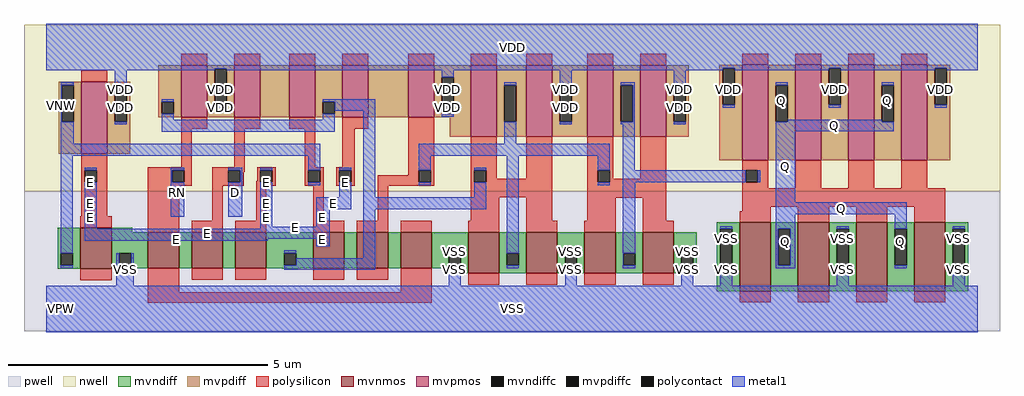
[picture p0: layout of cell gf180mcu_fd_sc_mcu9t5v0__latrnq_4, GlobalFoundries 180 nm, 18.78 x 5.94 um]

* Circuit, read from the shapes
.subckt gf180mcu_fd_sc_mcu9t5v0__latrnq_4 D E RN Q VDD VNW VPW VSS
XM1 VSS E n1 VPW nfet_06v0 w=0.79u l=0.6u
XM2 n2 RN VSS VPW nfet_06v0 w=0.7u l=0.6u
XM3 n3 D n2 VPW nfet_06v0 w=0.7u l=0.6u
XM4 n4 E n3 VPW nfet_06v0 w=0.7u l=0.6u
XM5 n5 n1 n4 VPW nfet_06v0 w=0.7u l=0.6u
XM6 n6 n7 n5 VPW nfet_06v0 w=0.7u l=0.6u
XM7 VSS RN n6 VPW nfet_06v0 w=0.7u l=0.6u
XM8 n7 n4 VSS VPW nfet_06v0 w=0.79u l=0.6u m=2
XM9 n8 n7 VSS VPW nfet_06v0 w=0.79u l=0.6u m=2
XM10 Q n8 VSS VPW nfet_06v0 w=1.32u l=0.6u m=4
XM11 VDD E n1 VNW pfet_06v0 w=1.38u l=0.5u
XM12 VDD RN n4 VNW pfet_06v0 w=1u l=0.5u
XM13 n9 D VDD VNW pfet_06v0 w=1u l=0.5u
XM14 n4 n1 n9 VNW pfet_06v0 w=1u l=0.5u
XM15 n10 E n4 VNW pfet_06v0 w=1u l=0.5u
XM16 VDD n7 n10 VNW pfet_06v0 w=1u l=0.5u
XM17 n7 n4 VDD VNW pfet_06v0 w=1.38u l=0.5u m=2
XM18 n8 n7 VDD VNW pfet_06v0 w=1.38u l=0.5u m=2
XM19 Q n8 VDD VNW pfet_06v0 w=1.83u l=0.5u m=4
.ends

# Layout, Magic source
magic
tech gf180mcuD
magscale 1 10
<< nwell >>
rect -86 453 3670 1094
<< pwell >>
rect -86 -86 3670 453
<< mvnmos >>
rect 131 155 251 313
rect 391 156 511 296
rect 559 156 679 296
rect 727 156 847 296
rect 1027 156 1147 296
rect 1195 156 1315 296
rect 1363 156 1483 296
rect 1623 138 1743 296
rect 1847 138 1967 296
rect 2071 138 2191 296
rect 2295 138 2415 296
rect 2668 69 2788 333
rect 2892 69 3012 333
rect 3116 69 3236 333
rect 3340 69 3460 333
<< mvpmos >>
rect 135 598 235 874
rect 519 738 619 938
rect 723 738 823 938
rect 935 738 1035 938
rect 1139 738 1239 938
rect 1393 738 1493 938
rect 1633 662 1733 938
rect 1847 662 1947 938
rect 2081 662 2181 938
rect 2285 662 2385 938
rect 2678 573 2778 939
rect 2882 573 2982 939
rect 3086 573 3186 939
rect 3290 573 3390 939
<< mvndiff >>
rect 43 214 131 313
rect 43 168 56 214
rect 102 168 131 214
rect 43 155 131 168
rect 251 296 331 313
rect 2580 308 2668 333
rect 251 214 391 296
rect 251 168 280 214
rect 326 168 391 214
rect 251 156 391 168
rect 511 156 559 296
rect 679 156 727 296
rect 847 214 1027 296
rect 847 168 916 214
rect 962 168 1027 214
rect 847 156 1027 168
rect 1147 156 1195 296
rect 1315 156 1363 296
rect 1483 214 1623 296
rect 1483 168 1548 214
rect 1594 168 1623 214
rect 1483 156 1623 168
rect 251 155 331 156
rect 907 155 967 156
rect 1543 138 1623 156
rect 1743 214 1847 296
rect 1743 168 1772 214
rect 1818 168 1847 214
rect 1743 138 1847 168
rect 1967 214 2071 296
rect 1967 168 1996 214
rect 2042 168 2071 214
rect 1967 138 2071 168
rect 2191 214 2295 296
rect 2191 168 2220 214
rect 2266 168 2295 214
rect 2191 138 2295 168
rect 2415 214 2503 296
rect 2415 168 2444 214
rect 2490 168 2503 214
rect 2415 138 2503 168
rect 2580 168 2593 308
rect 2639 168 2668 308
rect 2580 69 2668 168
rect 2788 308 2892 333
rect 2788 168 2817 308
rect 2863 168 2892 308
rect 2788 69 2892 168
rect 3012 308 3116 333
rect 3012 168 3041 308
rect 3087 168 3116 308
rect 3012 69 3116 168
rect 3236 308 3340 333
rect 3236 168 3265 308
rect 3311 168 3340 308
rect 3236 69 3340 168
rect 3460 308 3548 333
rect 3460 168 3489 308
rect 3535 168 3548 308
rect 3460 69 3548 168
<< mvpdiff >>
rect 47 861 135 874
rect 47 721 60 861
rect 106 721 135 861
rect 47 598 135 721
rect 235 861 323 874
rect 235 721 264 861
rect 310 721 323 861
rect 431 797 519 938
rect 431 751 444 797
rect 490 751 519 797
rect 431 738 519 751
rect 619 925 723 938
rect 619 785 648 925
rect 694 785 723 925
rect 619 738 723 785
rect 823 738 935 938
rect 1035 797 1139 938
rect 1035 751 1064 797
rect 1110 751 1139 797
rect 1035 738 1139 751
rect 1239 738 1393 938
rect 1493 891 1633 938
rect 1493 751 1522 891
rect 1568 751 1633 891
rect 1493 738 1633 751
rect 235 598 323 721
rect 1553 662 1633 738
rect 1733 861 1847 938
rect 1733 721 1762 861
rect 1808 721 1847 861
rect 1733 662 1847 721
rect 1947 861 2081 938
rect 1947 721 1976 861
rect 2022 721 2081 861
rect 1947 662 2081 721
rect 2181 861 2285 938
rect 2181 721 2210 861
rect 2256 721 2285 861
rect 2181 662 2285 721
rect 2385 861 2473 938
rect 2385 721 2414 861
rect 2460 721 2473 861
rect 2385 662 2473 721
rect 2590 926 2678 939
rect 2590 786 2603 926
rect 2649 786 2678 926
rect 2590 573 2678 786
rect 2778 861 2882 939
rect 2778 721 2807 861
rect 2853 721 2882 861
rect 2778 573 2882 721
rect 2982 926 3086 939
rect 2982 786 3011 926
rect 3057 786 3086 926
rect 2982 573 3086 786
rect 3186 861 3290 939
rect 3186 721 3215 861
rect 3261 721 3290 861
rect 3186 573 3290 721
rect 3390 926 3478 939
rect 3390 786 3419 926
rect 3465 786 3478 926
rect 3390 573 3478 786
<< mvndiffc >>
rect 56 168 102 214
rect 280 168 326 214
rect 916 168 962 214
rect 1548 168 1594 214
rect 1772 168 1818 214
rect 1996 168 2042 214
rect 2220 168 2266 214
rect 2444 168 2490 214
rect 2593 168 2639 308
rect 2817 168 2863 308
rect 3041 168 3087 308
rect 3265 168 3311 308
rect 3489 168 3535 308
<< mvpdiffc >>
rect 60 721 106 861
rect 264 721 310 861
rect 444 751 490 797
rect 648 785 694 925
rect 1064 751 1110 797
rect 1522 751 1568 891
rect 1762 721 1808 861
rect 1976 721 2022 861
rect 2210 721 2256 861
rect 2414 721 2460 861
rect 2603 786 2649 926
rect 2807 721 2853 861
rect 3011 786 3057 926
rect 3215 721 3261 861
rect 3419 786 3465 926
<< polysilicon >>
rect 519 938 619 982
rect 723 938 823 982
rect 935 938 1035 982
rect 1139 938 1239 982
rect 1393 938 1493 982
rect 1633 938 1733 982
rect 1847 938 1947 982
rect 2081 938 2181 982
rect 2285 938 2385 982
rect 2678 939 2778 983
rect 2882 939 2982 983
rect 3086 939 3186 983
rect 3290 939 3390 983
rect 135 874 235 918
rect 519 694 619 738
rect 723 694 823 738
rect 935 694 1035 738
rect 135 533 235 598
rect 519 546 559 694
rect 723 546 763 694
rect 995 546 1035 694
rect 1139 694 1239 738
rect 1139 546 1187 694
rect 135 487 148 533
rect 194 487 235 533
rect 135 357 235 487
rect 391 533 559 546
rect 391 487 484 533
rect 530 487 559 533
rect 391 474 559 487
rect 639 533 763 546
rect 639 487 700 533
rect 746 528 763 533
rect 811 533 883 546
rect 746 487 759 528
rect 811 492 824 533
rect 639 474 759 487
rect 807 487 824 492
rect 870 487 883 533
rect 807 474 883 487
rect 995 533 1067 546
rect 995 487 1008 533
rect 1054 487 1067 533
rect 995 474 1067 487
rect 1115 533 1187 546
rect 1115 487 1128 533
rect 1174 487 1187 533
rect 1393 533 1493 738
rect 1393 514 1434 533
rect 1115 474 1187 487
rect 1275 487 1434 514
rect 1480 487 1493 533
rect 1275 474 1493 487
rect 1633 533 1733 662
rect 1633 487 1646 533
rect 1692 501 1733 533
rect 1847 501 1947 662
rect 1692 487 1947 501
rect 131 313 251 357
rect 391 296 511 474
rect 639 340 679 474
rect 807 340 847 474
rect 559 296 679 340
rect 727 296 847 340
rect 1027 340 1067 474
rect 1275 340 1315 474
rect 1633 429 1947 487
rect 1633 340 1743 429
rect 1027 296 1147 340
rect 1195 296 1315 340
rect 1363 296 1483 340
rect 1623 296 1743 340
rect 1847 340 1947 429
rect 2081 533 2181 662
rect 2081 487 2122 533
rect 2168 501 2181 533
rect 2285 501 2385 662
rect 2168 487 2385 501
rect 2081 428 2385 487
rect 2081 340 2191 428
rect 1847 296 1967 340
rect 2071 296 2191 340
rect 2295 340 2385 428
rect 2678 533 2778 573
rect 2678 487 2691 533
rect 2737 487 2778 533
rect 2678 465 2778 487
rect 2882 465 2982 573
rect 3086 465 3186 573
rect 3290 465 3390 573
rect 2678 393 3460 465
rect 2678 377 2788 393
rect 2295 296 2415 340
rect 2668 333 2788 377
rect 2892 333 3012 393
rect 3116 333 3236 393
rect 3340 333 3460 393
rect 131 111 251 155
rect 391 64 511 156
rect 559 112 679 156
rect 727 112 847 156
rect 1027 112 1147 156
rect 1195 112 1315 156
rect 1363 64 1483 156
rect 1623 94 1743 138
rect 1847 94 1967 138
rect 2071 94 2191 138
rect 2295 94 2415 138
rect 391 24 1483 64
rect 2668 25 2788 69
rect 2892 25 3012 69
rect 3116 25 3236 69
rect 3340 25 3460 69
<< polycontact >>
rect 148 487 194 533
rect 484 487 530 533
rect 700 487 746 533
rect 824 487 870 533
rect 1008 487 1054 533
rect 1128 487 1174 533
rect 1434 487 1480 533
rect 1646 487 1692 533
rect 2122 487 2168 533
rect 2691 487 2737 533
<< metal1 >>
rect 0 926 3584 1098
rect 0 925 2603 926
rect 0 918 648 925
rect 56 861 106 872
rect 56 721 60 861
rect 56 636 106 721
rect 264 861 310 918
rect 264 710 310 721
rect 444 797 490 808
rect 694 918 2603 925
rect 1522 891 1568 918
rect 648 774 694 785
rect 1064 797 1266 808
rect 444 728 490 751
rect 1110 762 1266 797
rect 1064 728 1110 751
rect 444 682 1110 728
rect 56 590 1054 636
rect 56 214 102 590
rect 148 533 194 544
rect 148 308 194 487
rect 478 533 530 544
rect 478 487 484 533
rect 478 354 530 487
rect 700 533 754 544
rect 746 487 754 533
rect 700 354 754 487
rect 824 533 870 544
rect 824 317 870 487
rect 1008 533 1054 590
rect 1008 476 1054 487
rect 1128 533 1174 544
rect 1128 430 1174 487
rect 1038 384 1174 430
rect 1220 430 1266 762
rect 1522 740 1568 751
rect 1762 861 1808 872
rect 1762 636 1808 721
rect 1976 861 2022 918
rect 1976 710 2022 721
rect 2210 861 2265 872
rect 2256 721 2265 861
rect 2210 710 2265 721
rect 2414 861 2460 918
rect 2649 918 3011 926
rect 2603 775 2649 786
rect 2807 861 2853 872
rect 2414 710 2460 721
rect 3057 918 3419 926
rect 3011 775 3057 786
rect 3215 861 3261 872
rect 2853 721 3215 729
rect 3465 918 3584 926
rect 3419 775 3465 786
rect 1434 590 2168 636
rect 1434 533 1480 590
rect 1434 476 1480 487
rect 1646 533 1692 544
rect 1646 430 1692 487
rect 1220 384 1692 430
rect 1038 317 1090 384
rect 824 308 1090 317
rect 148 271 1090 308
rect 148 262 852 271
rect 1038 242 1090 271
rect 916 214 962 225
rect 56 157 102 168
rect 269 168 280 214
rect 326 168 337 214
rect 269 90 337 168
rect 1220 196 1266 384
rect 962 168 1266 196
rect 916 150 1266 168
rect 1548 214 1594 225
rect 1548 90 1594 168
rect 1772 214 1818 590
rect 2122 533 2168 590
rect 2122 476 2168 487
rect 2219 533 2265 710
rect 2807 683 3261 721
rect 2219 487 2691 533
rect 2737 487 2748 533
rect 1772 157 1818 168
rect 1996 214 2042 225
rect 1996 90 2042 168
rect 2219 214 2266 487
rect 2807 411 2882 683
rect 2807 365 3311 411
rect 2593 308 2639 319
rect 2219 168 2220 214
rect 2219 157 2266 168
rect 2444 214 2490 225
rect 2444 90 2490 168
rect 2593 90 2639 168
rect 2807 308 2882 365
rect 2807 168 2817 308
rect 2863 168 2882 308
rect 2807 157 2882 168
rect 3041 308 3087 319
rect 3041 90 3087 168
rect 3265 308 3311 365
rect 3265 157 3311 168
rect 3489 308 3535 319
rect 3489 90 3535 168
rect 0 -90 3584 90
<< labels >>
flabel metal1 s 700 354 754 544 0 FreeSans 200 0 0 0 D
port 1 nsew default input
flabel metal1 s 1128 430 1174 544 0 FreeSans 200 0 0 0 E
port 2 nsew clock input
flabel metal1 s 3215 729 3261 872 0 FreeSans 200 0 0 0 Q
port 4 nsew default output
flabel metal1 s 478 354 530 544 0 FreeSans 200 0 0 0 RN
port 3 nsew default input
flabel metal1 s 0 918 3584 1098 0 FreeSans 200 0 0 0 VDD
port 5 nsew power bidirectional abutment
flabel metal1 s 3489 225 3535 319 0 FreeSans 200 0 0 0 VSS
port 8 nsew ground bidirectional abutment
flabel nwell s 10 734 110 834 0 FreeSans 400 0 0 0 VNW
port 6 nsew power bidirectional
flabel pwell s 10 -50 110 50 0 FreeSans 400 0 0 0 VPW
port 7 nsew ground bidirectional
rlabel metal1 s 824 430 870 544 1 E
port 2 nsew clock input
rlabel metal1 s 148 430 194 544 1 E
port 2 nsew clock input
rlabel metal1 s 1038 384 1174 430 1 E
port 2 nsew clock input
rlabel metal1 s 824 384 870 430 1 E
port 2 nsew clock input
rlabel metal1 s 148 384 194 430 1 E
port 2 nsew clock input
rlabel metal1 s 1038 317 1090 384 1 E
port 2 nsew clock input
rlabel metal1 s 824 317 870 384 1 E
port 2 nsew clock input
rlabel metal1 s 148 317 194 384 1 E
port 2 nsew clock input
rlabel metal1 s 824 308 1090 317 1 E
port 2 nsew clock input
rlabel metal1 s 148 308 194 317 1 E
port 2 nsew clock input
rlabel metal1 s 148 271 1090 308 1 E
port 2 nsew clock input
rlabel metal1 s 1038 262 1090 271 1 E
port 2 nsew clock input
rlabel metal1 s 148 262 852 271 1 E
port 2 nsew clock input
rlabel metal1 s 1038 242 1090 262 1 E
port 2 nsew clock input
rlabel metal1 s 2807 729 2853 872 1 Q
port 4 nsew default output
rlabel metal1 s 2807 683 3261 729 1 Q
port 4 nsew default output
rlabel metal1 s 2807 411 2882 683 1 Q
port 4 nsew default output
rlabel metal1 s 2807 365 3311 411 1 Q
port 4 nsew default output
rlabel metal1 s 3265 157 3311 365 1 Q
port 4 nsew default output
rlabel metal1 s 2807 157 2882 365 1 Q
port 4 nsew default output
rlabel metal1 s 3419 775 3465 918 1 VDD
port 5 nsew power bidirectional abutment
rlabel metal1 s 3011 775 3057 918 1 VDD
port 5 nsew power bidirectional abutment
rlabel metal1 s 2603 775 2649 918 1 VDD
port 5 nsew power bidirectional abutment
rlabel metal1 s 2414 775 2460 918 1 VDD
port 5 nsew power bidirectional abutment
rlabel metal1 s 1976 775 2022 918 1 VDD
port 5 nsew power bidirectional abutment
rlabel metal1 s 1522 775 1568 918 1 VDD
port 5 nsew power bidirectional abutment
rlabel metal1 s 648 775 694 918 1 VDD
port 5 nsew power bidirectional abutment
rlabel metal1 s 264 775 310 918 1 VDD
port 5 nsew power bidirectional abutment
rlabel metal1 s 2414 774 2460 775 1 VDD
port 5 nsew power bidirectional abutment
rlabel metal1 s 1976 774 2022 775 1 VDD
port 5 nsew power bidirectional abutment
rlabel metal1 s 1522 774 1568 775 1 VDD
port 5 nsew power bidirectional abutment
rlabel metal1 s 648 774 694 775 1 VDD
port 5 nsew power bidirectional abutment
rlabel metal1 s 264 774 310 775 1 VDD
port 5 nsew power bidirectional abutment
rlabel metal1 s 2414 740 2460 774 1 VDD
port 5 nsew power bidirectional abutment
rlabel metal1 s 1976 740 2022 774 1 VDD
port 5 nsew power bidirectional abutment
rlabel metal1 s 1522 740 1568 774 1 VDD
port 5 nsew power bidirectional abutment
rlabel metal1 s 264 740 310 774 1 VDD
port 5 nsew power bidirectional abutment
rlabel metal1 s 2414 710 2460 740 1 VDD
port 5 nsew power bidirectional abutment
rlabel metal1 s 1976 710 2022 740 1 VDD
port 5 nsew power bidirectional abutment
rlabel metal1 s 264 710 310 740 1 VDD
port 5 nsew power bidirectional abutment
rlabel metal1 s 3041 225 3087 319 1 VSS
port 8 nsew ground bidirectional abutment
rlabel metal1 s 2593 225 2639 319 1 VSS
port 8 nsew ground bidirectional abutment
rlabel metal1 s 3489 214 3535 225 1 VSS
port 8 nsew ground bidirectional abutment
rlabel metal1 s 3041 214 3087 225 1 VSS
port 8 nsew ground bidirectional abutment
rlabel metal1 s 2593 214 2639 225 1 VSS
port 8 nsew ground bidirectional abutment
rlabel metal1 s 2444 214 2490 225 1 VSS
port 8 nsew ground bidirectional abutment
rlabel metal1 s 1996 214 2042 225 1 VSS
port 8 nsew ground bidirectional abutment
rlabel metal1 s 1548 214 1594 225 1 VSS
port 8 nsew ground bidirectional abutment
rlabel metal1 s 3489 90 3535 214 1 VSS
port 8 nsew ground bidirectional abutment
rlabel metal1 s 3041 90 3087 214 1 VSS
port 8 nsew ground bidirectional abutment
rlabel metal1 s 2593 90 2639 214 1 VSS
port 8 nsew ground bidirectional abutment
rlabel metal1 s 2444 90 2490 214 1 VSS
port 8 nsew ground bidirectional abutment
rlabel metal1 s 1996 90 2042 214 1 VSS
port 8 nsew ground bidirectional abutment
rlabel metal1 s 1548 90 1594 214 1 VSS
port 8 nsew ground bidirectional abutment
rlabel metal1 s 269 90 337 214 1 VSS
port 8 nsew ground bidirectional abutment
rlabel metal1 s 0 -90 3584 90 1 VSS
port 8 nsew ground bidirectional abutment
<< properties >>
string FIXED_BBOX 0 0 3584 1008
string GDS_END 1024654
string GDS_FILE $PDKPATH/libs.ref/gf180mcu_fd_sc_mcu9t5v0/gds/gf180mcu_fd_sc_mcu9t5v0.gds
string GDS_START 1016252
string LEFclass core
string LEFsite GF018hv5v_green_sc9
string LEFsymmetry X Y
<< end >>
